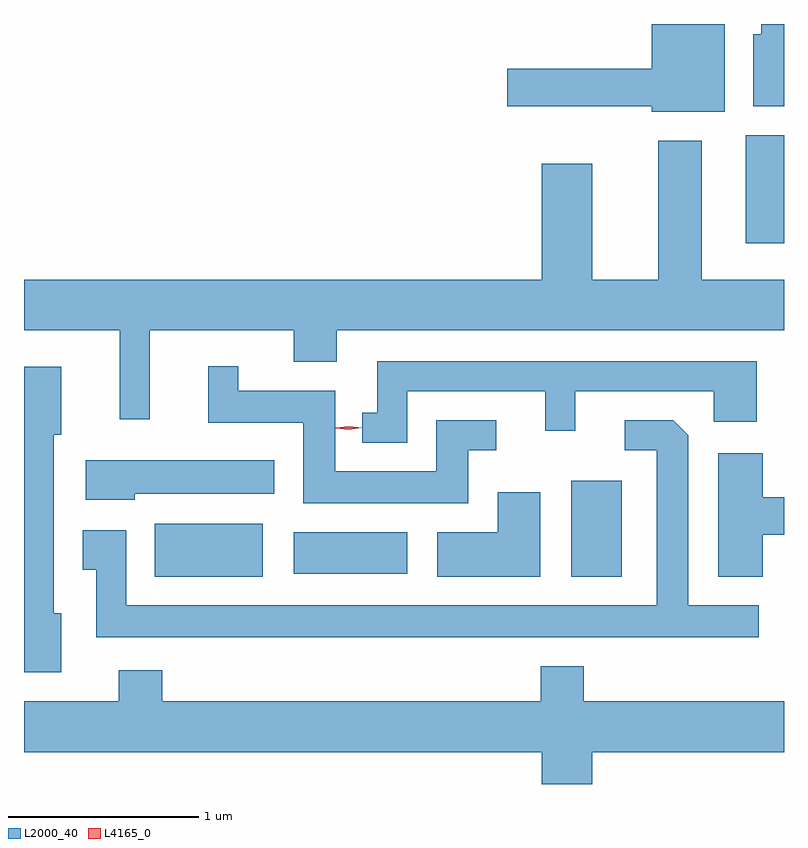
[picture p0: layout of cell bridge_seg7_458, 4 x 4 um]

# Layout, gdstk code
import gdstk
lib = gdstk.Library(unit=1e-6, precision=1e-09)
def R(c, l, rs):  # rectangles x0, y0, x1, y1
    for r in rs: c.add(gdstk.rectangle(r[:2], r[2:], *l))
def P(c, l, *ps):  # polygons
    for p in ps: c.add(gdstk.Polygon(p, *l))
L2000_40 = (2000, 40)
L4165_0 = (4165, 0)

bridge_seg7_458 = lib.new_cell('bridge_seg7_458')
R(bridge_seg7_458, L2000_40, [(1112.141,1726.341,1112.709,1726.619), (1114.331,1726.341,1114.599,1726.844), (1112.871,1726.356,1113.469,1726.574), (1115.251,1728.096,1115.452,1728.664)])
P(bridge_seg7_458, L2000_40, [(1115.452,1729.249),(1115.331,1729.249),(1115.331,1729.194),(1115.291,1729.194),(1115.291,1728.816),(1115.452,1728.816)],
  [(1115.139,1729.249),(1114.756,1729.249),(1114.756,1729.014),(1113.996,1729.014),(1113.996,1728.816),(1114.756,1728.816),(1114.756,1728.786),(1115.139,1728.786)],
  [(1112.114,1727.636),(1112.871,1727.636),(1112.871,1727.471),(1113.099,1727.471),(1113.099,1727.636),(1115.452,1727.636),(1115.452,1727.904),(1115.019,1727.904),(1115.019,1728.634),(1114.791,1728.634),(1114.791,1727.904),(1114.444,1727.904),(1114.444,1728.514),(1114.176,1728.514),(1114.176,1727.904),(1111.452,1727.904),(1111.452,1727.636),(1111.956,1727.636),(1111.956,1727.168),(1112.114,1727.168)],
  [(1113.469,1727.316),(1114.196,1727.316),(1114.196,1727.108),(1114.354,1727.108),(1114.354,1727.316),(1115.081,1727.316),(1115.081,1727.156),(1115.309,1727.156),(1115.309,1727.474),(1113.311,1727.474),(1113.311,1727.204),(1113.233,1727.204),(1113.233,1727.046),(1113.469,1727.046)],
  [(1113.789,1727.006),(1113.938,1727.006),(1113.938,1727.164),(1113.621,1727.164),(1113.621,1726.894),(1113.089,1726.894),(1113.089,1727.319),(1112.579,1727.319),(1112.579,1727.448),(1112.421,1727.448),(1112.421,1727.151),(1112.921,1727.151),(1112.921,1726.726),(1113.789,1726.726)],
  [(1111.649,1726.149),(1111.609,1726.149),(1111.609,1727.086),(1111.649,1727.086),(1111.649,1727.444),(1111.452,1727.444),(1111.452,1725.836),(1111.649,1725.836)],
  [(1115.318,1726.189),(1114.949,1726.189),(1114.949,1727.084),(1114.869,1727.164),(1114.613,1727.164),(1114.613,1727.006),(1114.781,1727.006),(1114.781,1726.189),(1111.989,1726.189),(1111.989,1726.584),(1111.761,1726.584),(1111.761,1726.376),(1111.831,1726.376),(1111.831,1726.021),(1115.318,1726.021)],
  [(1115.339,1726.561),(1115.452,1726.561),(1115.452,1726.759),(1115.339,1726.759),(1115.339,1726.989),(1115.106,1726.989),(1115.106,1726.341),(1115.339,1726.341)],
  [(1112.034,1726.776),(1112.769,1726.776),(1112.769,1726.954),(1111.776,1726.954),(1111.776,1726.746),(1112.034,1726.746)],
  [(1114.169,1726.784),(1113.946,1726.784),(1113.946,1726.574),(1113.626,1726.574),(1113.626,1726.341),(1114.169,1726.341)],
  [(1114.444,1725.416),(1115.452,1725.416),(1115.452,1725.684),(1114.399,1725.684),(1114.399,1725.869),(1114.171,1725.869),(1114.171,1725.684),(1112.179,1725.684),(1112.179,1725.849),(1111.951,1725.849),(1111.951,1725.684),(1111.452,1725.684),(1111.452,1725.416),(1114.176,1725.416),(1114.176,1725.249),(1114.444,1725.249)])
P(bridge_seg7_458, L4165_0, [(1113.161,1727.113),(1113.092,1727.122),(1113.092,1727.123),(1113.092,1727.123),(1113.161,1727.133),(1113.231,1727.124),(1113.231,1727.124),(1113.231,1727.123)])

lib.write_gds('bridge_seg7_458.gds')
